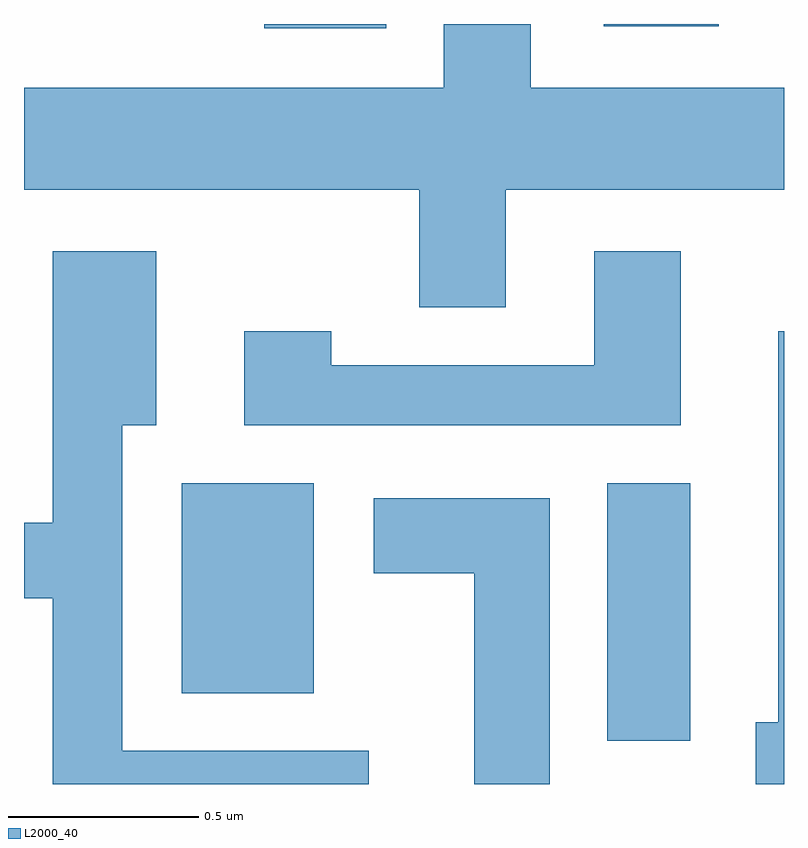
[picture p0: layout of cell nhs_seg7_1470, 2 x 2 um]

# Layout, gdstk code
import gdstk
lib = gdstk.Library(unit=1e-6, precision=1e-09)
def R(c, l, rs):  # rectangles x0, y0, x1, y1
    for r in rs: c.add(gdstk.rectangle(r[:2], r[2:], *l))
def P(c, l, *ps):  # polygons
    for p in ps: c.add(gdstk.Polygon(p, *l))
L2000_40 = (2000, 40)

nhs_seg7_1470 = lib.new_cell('nhs_seg7_1470')
R(nhs_seg7_1470, L2000_40, [(197.146,1768.366,197.364,1769.044), (196.026,1768.491,196.374,1769.044), (196.243,1770.241,196.564,1770.252), (197.136,1770.246,197.439,1770.252)])
P(nhs_seg7_1470, L2000_40, [(196.879,1769.816),(197.611,1769.816),(197.611,1770.084),(196.944,1770.084),(196.944,1770.252),(196.716,1770.252),(196.716,1770.084),(195.611,1770.084),(195.611,1769.816),(196.651,1769.816),(196.651,1769.506),(196.879,1769.506)],
  [(196.518,1768.339),(195.869,1768.339),(195.869,1769.196),(195.959,1769.196),(195.959,1769.654),(195.686,1769.654),(195.686,1768.939),(195.611,1768.939),(195.611,1768.741),(195.686,1768.741),(195.686,1768.252),(196.518,1768.252)],
  [(197.339,1769.654),(197.111,1769.654),(197.111,1769.354),(196.419,1769.354),(196.419,1769.444),(196.191,1769.444),(196.191,1769.196),(197.339,1769.196)],
  [(197.611,1769.444),(197.596,1769.444),(197.596,1768.414),(197.536,1768.414),(197.536,1768.252),(197.611,1768.252)],
  [(196.994,1769.004),(196.531,1769.004),(196.531,1768.806),(196.796,1768.806),(196.796,1768.252),(196.994,1768.252)])

lib.write_gds('nhs_seg7_1470.gds')
